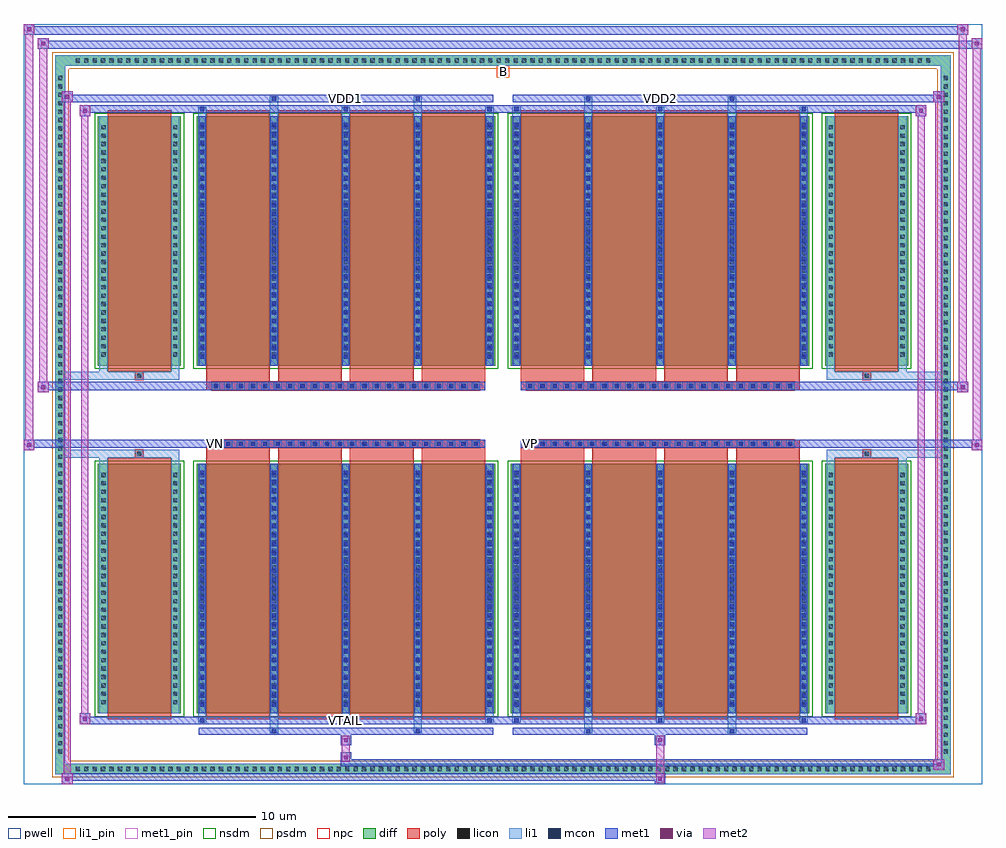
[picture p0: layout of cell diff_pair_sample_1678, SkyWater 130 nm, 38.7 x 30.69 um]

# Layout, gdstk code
import gdstk
lib = gdstk.Library(unit=1e-6, precision=5e-09)
def R(c, l, rs):  # rectangles x0, y0, x1, y1
    for r in rs: c.add(gdstk.rectangle(r[:2], r[2:], *l))
def A(c, l, x, y, w, h, nx, ny, dx, dy):  # array of equal rectangles
    R(c, l, [(x+i*dx, y+j*dy, x+i*dx+w, y+j*dy+h) for i in range(nx) for j in range(ny)])
def P(c, l, *ps):  # polygons
    for p in ps: c.add(gdstk.Polygon(p, *l))
pwell = (64, 44)
diff = (65, 20)
poly = (66, 20)
licon = (66, 44)
li1_pin = (67, 16)
li1 = (67, 20)
mcon = (67, 44)
met1_pin = (68, 16)
met1 = (68, 20)
via = (68, 44)
met2 = (69, 20)
nsdm = (93, 44)
psdm = (94, 20)
npc = (95, 20)

diff_pair_sample_1678 = lib.new_cell('diff_pair_sample_1678')
R(diff_pair_sample_1678, pwell, [(-19.35,-14.91,19.35,15.78), (-16.67,-13.1,-0.01,-0.8), (0.01,-13.1,16.67,-0.8), (-16.67,0.8,-0.01,13.1), (0.01,0.8,16.67,13.1)])
A(diff_pair_sample_1678, diff, -17.375, -14.51, 0.41, 0.41, 102, 2, 0.34, 28.61)
A(diff_pair_sample_1678, diff, -18.08, -13.805, 0.41, 0.41, 1, 81, 0, 0.34)
A(diff_pair_sample_1678, diff, 17.67, -13.805, 0.41, 0.41, 1, 81, 0, 0.34)
R(diff_pair_sample_1678, diff, [(-17.375,-14.51,17.375,-14.1), (-18.08,-13.805,-17.67,13.805), (17.67,-13.805,18.08,13.805), (-16.36,-12.055,-13.01,-1.985), (-12.37,-12.055,-0.32,-1.985), (0.32,-12.055,12.37,-1.985), (13.01,-12.055,16.36,-1.985), (-16.36,1.985,-13.01,12.055), (-12.37,1.985,-0.32,12.055), (0.32,1.985,12.37,12.055), (13.01,1.985,16.36,12.055), (-17.375,14.1,17.375,14.51)])
P(diff_pair_sample_1678, diff, [(18.08,14.51),(-18.08,14.51),(-18.08,-14.1),(-17.67,-14.1),(-17.67,14.1),(17.67,14.1),(17.67,-14.1),(-17.67,-14.1),(-18.08,-14.1),(-18.08,-14.51),(18.08,-14.51)])
A(diff_pair_sample_1678, poly, -11.98, -12.305, 2.57, 10.57, 4, 2, 2.9, 14.04)
A(diff_pair_sample_1678, poly, 0.71, -12.305, 2.57, 10.57, 4, 2, 2.9, 14.04)
A(diff_pair_sample_1678, poly, -11.98, -1.735, 2.57, 0.405, 4, 2, 2.9, 3.065)
A(diff_pair_sample_1678, poly, 0.71, -1.735, 2.57, 0.405, 4, 2, 2.9, 3.065)
A(diff_pair_sample_1678, poly, -11.76, -1.33, 0.33, 0.33, 22, 2, 0.5, 2.33)
A(diff_pair_sample_1678, poly, 0.93, -1.33, 0.33, 0.33, 22, 2, 0.5, 2.33)
R(diff_pair_sample_1678, poly, [(-15.97,-12.305,-13.4,-1.735), (13.4,-12.305,15.97,-1.735), (-14.85,-1.735,-14.52,-1.405), (-14.85,-1.735,-14.52,-1.405), (14.52,-1.735,14.85,-1.405), (14.52,-1.735,14.85,-1.405), (-11.98,-1.33,-0.71,-1), (0.71,-1.33,11.98,-1), (-11.98,1,-0.71,1.33), (0.71,1,11.98,1.33), (-14.85,1.405,-14.52,1.735), (-14.85,1.405,-14.52,1.735), (14.52,1.405,14.85,1.735), (14.52,1.405,14.85,1.735), (-15.97,1.735,-13.4,12.305), (13.4,1.735,15.97,12.305)])
A(diff_pair_sample_1678, licon, -17.255, -14.39, 0.17, 0.17, 102, 2, 0.34, 28.61)
A(diff_pair_sample_1678, licon, -17.96, -13.685, 0.17, 0.17, 1, 81, 0, 0.34)
A(diff_pair_sample_1678, licon, 17.79, -13.685, 0.17, 0.17, 1, 81, 0, 0.34)
A(diff_pair_sample_1678, licon, -16.22, -11.695, 0.17, 0.17, 1, 28, 0, 0.34)
A(diff_pair_sample_1678, licon, -13.32, -11.695, 0.17, 0.17, 1, 28, 0, 0.34)
A(diff_pair_sample_1678, licon, -12.23, -11.695, 0.17, 0.17, 5, 28, 2.9, 0.34)
A(diff_pair_sample_1678, licon, 0.46, -11.695, 0.17, 0.17, 5, 28, 2.9, 0.34)
A(diff_pair_sample_1678, licon, 13.15, -11.695, 0.17, 0.17, 1, 28, 0, 0.34)
A(diff_pair_sample_1678, licon, 16.05, -11.695, 0.17, 0.17, 1, 28, 0, 0.34)
A(diff_pair_sample_1678, licon, -11.68, -1.25, 0.17, 0.17, 22, 2, 0.5, 2.33)
A(diff_pair_sample_1678, licon, 1.01, -1.25, 0.17, 0.17, 22, 2, 0.5, 2.33)
A(diff_pair_sample_1678, licon, -16.22, 2.345, 0.17, 0.17, 1, 28, 0, 0.34)
A(diff_pair_sample_1678, licon, -13.32, 2.345, 0.17, 0.17, 1, 28, 0, 0.34)
A(diff_pair_sample_1678, licon, -12.23, 2.345, 0.17, 0.17, 5, 28, 2.9, 0.34)
A(diff_pair_sample_1678, licon, 0.46, 2.345, 0.17, 0.17, 5, 28, 2.9, 0.34)
A(diff_pair_sample_1678, licon, 13.15, 2.345, 0.17, 0.17, 1, 28, 0, 0.34)
A(diff_pair_sample_1678, licon, 16.05, 2.345, 0.17, 0.17, 1, 28, 0, 0.34)
R(diff_pair_sample_1678, licon, [(-14.77,-1.655,-14.6,-1.485), (14.6,-1.655,14.77,-1.485), (-14.77,1.485,-14.6,1.655), (14.6,1.485,14.77,1.655)])
R(diff_pair_sample_1678, li1_pin, [(-0.25,13.6,0.25,14.1)])
A(diff_pair_sample_1678, li1, -17.335, -14.47, 0.33, 0.33, 102, 2, 0.34, 28.61)
A(diff_pair_sample_1678, li1, -18.04, -13.765, 0.33, 0.33, 1, 81, 0, 0.34)
A(diff_pair_sample_1678, li1, 17.71, -13.765, 0.33, 0.33, 1, 81, 0, 0.34)
A(diff_pair_sample_1678, li1, -12.31, -12.43, 0.33, 0.375, 3, 2, 5.8, 24.485)
A(diff_pair_sample_1678, li1, -12.23, -12.43, 0.17, 0.17, 3, 2, 5.8, 24.69)
A(diff_pair_sample_1678, li1, 0.38, -12.43, 0.33, 0.375, 3, 2, 5.8, 24.485)
A(diff_pair_sample_1678, li1, 0.46, -12.43, 0.17, 0.17, 3, 2, 5.8, 24.69)
A(diff_pair_sample_1678, li1, -12.31, -12.055, 0.33, 10.07, 5, 2, 2.9, 14.04)
A(diff_pair_sample_1678, li1, 0.38, -12.055, 0.33, 10.07, 5, 2, 2.9, 14.04)
A(diff_pair_sample_1678, li1, -12.23, -11.785, 0.17, 0.17, 5, 27, 2.9, 0.36)
A(diff_pair_sample_1678, li1, -12.23, -11.785, 0.17, 9.53, 5, 2, 2.9, 14.04)
A(diff_pair_sample_1678, li1, 0.46, -11.785, 0.17, 0.17, 5, 27, 2.9, 0.36)
A(diff_pair_sample_1678, li1, 0.46, -11.785, 0.17, 9.53, 5, 2, 2.9, 14.04)
A(diff_pair_sample_1678, li1, -16.3, -11.775, 0.33, 0.33, 1, 28, 0, 0.34)
A(diff_pair_sample_1678, li1, -13.4, -11.775, 0.33, 0.33, 1, 28, 0, 0.34)
A(diff_pair_sample_1678, li1, -12.31, -11.775, 0.33, 0.33, 5, 28, 2.9, 0.34)
A(diff_pair_sample_1678, li1, 0.38, -11.775, 0.33, 0.33, 5, 28, 2.9, 0.34)
A(diff_pair_sample_1678, li1, 13.07, -11.775, 0.33, 0.33, 1, 28, 0, 0.34)
A(diff_pair_sample_1678, li1, 15.97, -11.775, 0.33, 0.33, 1, 28, 0, 0.34)
A(diff_pair_sample_1678, li1, -11.76, -1.33, 0.33, 0.33, 22, 2, 0.5, 2.33)
A(diff_pair_sample_1678, li1, 0.93, -1.33, 0.33, 0.33, 22, 2, 0.5, 2.33)
A(diff_pair_sample_1678, li1, -12.23, 2.255, 0.17, 0.17, 5, 27, 2.9, 0.36)
A(diff_pair_sample_1678, li1, 0.46, 2.255, 0.17, 0.17, 5, 27, 2.9, 0.36)
A(diff_pair_sample_1678, li1, -16.3, 2.265, 0.33, 0.33, 1, 28, 0, 0.34)
A(diff_pair_sample_1678, li1, -13.4, 2.265, 0.33, 0.33, 1, 28, 0, 0.34)
A(diff_pair_sample_1678, li1, -12.31, 2.265, 0.33, 0.33, 5, 28, 2.9, 0.34)
A(diff_pair_sample_1678, li1, 0.38, 2.265, 0.33, 0.33, 5, 28, 2.9, 0.34)
A(diff_pair_sample_1678, li1, 13.07, 2.265, 0.33, 0.33, 1, 28, 0, 0.34)
A(diff_pair_sample_1678, li1, 15.97, 2.265, 0.33, 0.33, 1, 28, 0, 0.34)
R(diff_pair_sample_1678, li1, [(-18.08,-14.51,-17.67,-14.1), (-18.08,-14.51,-17.67,-14.1), (-17.67,-14.51,17.67,-14.1), (17.67,-14.51,18.08,-14.1), (17.67,-14.51,18.08,-14.1), (-18.08,-14.1,-17.67,14.1), (17.67,-14.1,18.08,14.1), (-9.41,-12.86,-9.08,-12.055), (-9.33,-12.86,-9.16,-12.69), (-3.61,-12.86,-3.28,-12.055), (-3.53,-12.86,-3.36,-12.69), (3.28,-12.86,3.61,-12.055), (3.36,-12.86,3.53,-12.69), (9.08,-12.86,9.41,-12.055), (9.16,-12.86,9.33,-12.69), (-16.3,-12.055,-15.97,-1.985), (-13.4,-12.055,-13.07,-1.985), (13.07,-12.055,13.4,-1.985), (15.97,-12.055,16.3,-1.985), (-16.3,-1.985,-15.97,-1.405), (-13.4,-1.985,-13.07,-1.405), (13.07,-1.985,13.4,-1.405), (15.97,-1.985,16.3,-1.405), (-18.08,-1.735,-14.85,-1.405), (-16.3,-1.735,-14.85,-1.405), (-14.85,-1.735,-14.52,-1.405), (-14.52,-1.735,-13.07,-1.405), (13.07,-1.735,14.52,-1.405), (14.52,-1.735,14.85,-1.405), (14.52,-1.735,18.08,-1.405), (14.85,-1.735,16.3,-1.405), (-18.08,1.405,-14.85,1.735), (-16.3,1.405,-14.85,1.735), (-16.3,1.405,-15.97,1.985), (-14.85,1.405,-14.52,1.735), (-14.52,1.405,-13.07,1.735), (-13.4,1.405,-13.07,1.985), (13.07,1.405,14.52,1.735), (13.07,1.405,13.4,1.985), (14.52,1.405,14.85,1.735), (14.52,1.405,18.08,1.735), (14.85,1.405,16.3,1.735), (15.97,1.405,16.3,1.985), (-16.3,1.985,-15.97,12.055), (-13.4,1.985,-13.07,12.055), (13.07,1.985,13.4,12.055), (15.97,1.985,16.3,12.055), (-9.41,12.055,-9.08,12.86), (-3.61,12.055,-3.28,12.86), (3.28,12.055,3.61,12.86), (9.08,12.055,9.41,12.86), (-9.33,12.69,-9.16,12.86), (-3.53,12.69,-3.36,12.86), (3.36,12.69,3.53,12.86), (9.16,12.69,9.33,12.86), (-18.08,14.1,-17.67,14.51), (-18.08,14.1,-17.67,14.51), (-17.67,14.1,17.67,14.51), (17.67,14.1,18.08,14.51), (17.67,14.1,18.08,14.51)])
A(diff_pair_sample_1678, mcon, -12.23, -12.43, 0.17, 0.17, 3, 2, 5.8, 24.69)
A(diff_pair_sample_1678, mcon, 0.46, -12.43, 0.17, 0.17, 3, 2, 5.8, 24.69)
A(diff_pair_sample_1678, mcon, -12.23, -11.785, 0.17, 0.17, 5, 27, 2.9, 0.36)
A(diff_pair_sample_1678, mcon, 0.46, -11.785, 0.17, 0.17, 5, 27, 2.9, 0.36)
A(diff_pair_sample_1678, mcon, -11.68, -1.25, 0.17, 0.17, 22, 2, 0.5, 2.33)
A(diff_pair_sample_1678, mcon, 1.01, -1.25, 0.17, 0.17, 22, 2, 0.5, 2.33)
A(diff_pair_sample_1678, mcon, -12.23, 2.255, 0.17, 0.17, 5, 27, 2.9, 0.36)
A(diff_pair_sample_1678, mcon, 0.46, 2.255, 0.17, 0.17, 5, 27, 2.9, 0.36)
R(diff_pair_sample_1678, mcon, [(-9.33,-12.86,-9.16,-12.69), (-3.53,-12.86,-3.36,-12.69), (3.36,-12.86,3.53,-12.69), (9.16,-12.86,9.33,-12.69), (-9.33,12.69,-9.16,12.86), (-3.53,12.69,-3.36,12.86), (3.36,12.69,3.53,12.86), (9.16,12.69,9.33,12.86)])
R(diff_pair_sample_1678, met1_pin, [(-6.48,-12.47,-6.21,-12.2), (-11.73,-1.29,-11.46,-1.02), (0.96,-1.29,1.23,-1.02), (-6.48,12.65,-6.21,12.92), (6.21,12.65,6.48,12.92)])
A(diff_pair_sample_1678, met1, -12.29, -12.49, 0.29, 0.29, 3, 2, 5.8, 24.69)
A(diff_pair_sample_1678, met1, 0.4, -12.49, 0.29, 0.29, 3, 2, 5.8, 24.69)
A(diff_pair_sample_1678, met1, -12.29, -12.055, 0.29, 10.07, 5, 2, 2.9, 14.04)
A(diff_pair_sample_1678, met1, 0.4, -12.055, 0.29, 10.07, 5, 2, 2.9, 14.04)
A(diff_pair_sample_1678, met1, -12.29, -11.845, 0.29, 0.29, 5, 27, 2.9, 0.36)
A(diff_pair_sample_1678, met1, 0.4, -11.845, 0.29, 0.29, 5, 27, 2.9, 0.36)
A(diff_pair_sample_1678, met1, -11.74, -1.31, 0.29, 0.29, 22, 2, 0.5, 2.33)
A(diff_pair_sample_1678, met1, 0.95, -1.31, 0.29, 0.29, 22, 2, 0.5, 2.33)
A(diff_pair_sample_1678, met1, -12.29, 2.195, 0.29, 0.29, 5, 27, 2.9, 0.36)
A(diff_pair_sample_1678, met1, 0.4, 2.195, 0.29, 0.29, 5, 27, 2.9, 0.36)
R(diff_pair_sample_1678, met1, [(-17.81,-14.91,-17.38,-14.48), (6.13,-14.91,6.56,-14.48), (-17.81,-14.77,6.56,-14.48), (17.38,-14.34,17.81,-13.91), (-6.56,-14.2,17.81,-13.91), (-6.56,-14.06,-6.13,-13.63), (-6.56,-13.35,-6.13,-12.92), (6.13,-13.35,6.56,-12.92), (-12.29,-12.92,-0.4,-12.63), (-9.39,-12.92,-9.1,-12.63), (-3.59,-12.92,-3.3,-12.63), (0.4,-12.92,12.29,-12.63), (3.3,-12.92,3.59,-12.63), (9.1,-12.92,9.39,-12.63), (-17.1,-12.49,-16.67,-12.06), (-17.1,-12.49,-12.29,-12.2), (-12.29,-12.49,-0.4,-12.2), (-0.4,-12.49,0.4,-12.2), (0.4,-12.49,12.29,-12.2), (12.29,-12.49,17.1,-12.2), (16.67,-12.49,17.1,-12.06), (-19.35,-1.43,-18.92,-1), (18.92,-1.43,19.35,-1), (-19.35,-1.33,-0.71,-1), (-11.98,-1.33,-0.71,-1), (0.71,-1.33,11.98,-1), (0.71,-1.33,19.35,-1), (-18.78,0.9,-18.35,1.33), (18.35,0.9,18.78,1.33), (-18.78,1,-11.98,1.33), (-11.98,1,-0.71,1.33), (0.71,1,11.98,1.33), (11.98,1,18.78,1.33), (-17.1,12.06,-16.67,12.49), (16.67,12.06,17.1,12.49), (-17.1,12.2,-12.29,12.49), (-12.29,12.2,-0.4,12.49), (-0.4,12.2,0.4,12.49), (0.4,12.2,12.29,12.49), (12.29,12.2,17.1,12.49), (-17.81,12.63,-17.38,13.06), (-17.81,12.63,-12.29,12.92), (-12.29,12.63,-0.4,12.92), (-9.39,12.63,-9.1,12.92), (-3.59,12.63,-3.3,12.92), (0.4,12.63,12.29,12.92), (3.3,12.63,3.59,12.92), (9.1,12.63,9.39,12.92), (12.29,12.63,17.81,12.92), (17.38,12.63,17.81,13.06), (-18.78,14.78,-18.35,15.21), (-18.78,14.78,-16.67,15.11), (-16.67,14.78,16.67,15.11), (16.67,14.78,19.35,15.11), (18.92,14.78,19.35,15.21), (-19.35,15.35,-18.92,15.78), (-19.35,15.35,-16.67,15.68), (-16.67,15.35,16.67,15.68), (16.67,15.35,18.78,15.68), (18.35,15.35,18.78,15.78)])
R(diff_pair_sample_1678, via, [(-17.67,-14.77,-17.52,-14.62), (6.27,-14.77,6.42,-14.62), (17.52,-14.2,17.67,-14.05), (-6.42,-13.92,-6.27,-13.77), (-6.42,-13.21,-6.27,-13.06), (6.27,-13.21,6.42,-13.06), (-16.96,-12.35,-16.81,-12.2), (16.81,-12.35,16.96,-12.2), (-19.21,-1.29,-19.06,-1.14), (19.06,-1.29,19.21,-1.14), (-18.64,1.04,-18.49,1.19), (18.49,1.04,18.64,1.19), (-16.96,12.2,-16.81,12.35), (16.81,12.2,16.96,12.35), (-17.67,12.77,-17.52,12.92), (17.52,12.77,17.67,12.92), (-18.64,14.92,-18.49,15.07), (19.06,14.92,19.21,15.07), (-19.21,15.49,-19.06,15.64), (18.49,15.49,18.64,15.64)])
R(diff_pair_sample_1678, met2, [(-17.81,-14.91,-17.38,-14.48), (-17.74,-14.91,-17.45,13.06), (-17.45,-14.91,-17.38,-14.48), (-17.76,-14.86,-17.43,-14.53), (6.18,-14.86,6.51,-14.53), (6.18,-14.53,6.51,-13.3), (17.38,-14.34,17.81,-13.91), (17.45,-14.34,17.74,13.06), (17.74,-14.34,17.81,-13.91), (17.43,-14.29,17.76,-13.96), (-6.51,-14.01,-6.18,-13.68), (-6.51,-13.68,-6.18,-13.3), (-6.51,-13.3,-6.18,-12.97), (6.18,-13.3,6.51,-12.97), (-17.1,-12.49,-16.67,-12.06), (-17.03,-12.49,-16.74,12.49), (-16.74,-12.49,-16.67,-12.06), (16.67,-12.49,17.1,-12.06), (16.74,-12.49,17.03,12.49), (17.03,-12.49,17.1,-12.06), (-17.05,-12.44,-16.72,-12.11), (16.72,-12.44,17.05,-12.11), (-19.35,-1.43,-18.92,-1), (-19.3,-1.43,-18.97,15.78), (-18.97,-1.43,-18.92,-1), (18.92,-1.43,19.35,-1), (18.97,-1.43,19.3,15.21), (19.3,-1.43,19.35,-1), (-19.3,-1.38,-18.97,-1.05), (18.97,-1.38,19.3,-1.05), (-18.78,0.9,-18.35,1.33), (-18.73,0.9,-18.4,15.21), (-18.4,0.9,-18.35,1.33), (18.35,0.9,18.78,1.33), (18.4,0.9,18.73,15.78), (18.73,0.9,18.78,1.33), (-18.73,0.95,-18.4,1.28), (18.4,0.95,18.73,1.28), (-17.1,12.06,-16.67,12.49), (-16.74,12.06,-16.67,12.49), (16.67,12.06,17.1,12.49), (17.03,12.06,17.1,12.49), (-17.05,12.11,-16.72,12.44), (16.72,12.11,17.05,12.44), (-17.81,12.63,-17.38,13.06), (-17.45,12.63,-17.38,13.06), (17.38,12.63,17.81,13.06), (17.74,12.63,17.81,13.06), (-17.76,12.68,-17.43,13.01), (17.43,12.68,17.76,13.01), (-18.78,14.78,-18.35,15.21), (-18.4,14.78,-18.35,15.21), (18.92,14.78,19.35,15.21), (19.3,14.78,19.35,15.21), (-18.73,14.83,-18.4,15.16), (18.97,14.83,19.3,15.16), (-19.35,15.35,-18.92,15.78), (-18.97,15.35,-18.92,15.78), (18.35,15.35,18.78,15.78), (18.73,15.35,18.78,15.78), (-19.3,15.4,-18.97,15.73), (18.4,15.4,18.73,15.73)])
R(diff_pair_sample_1678, nsdm, [(-16.49,-12.185,-12.88,-1.855), (-12.5,-12.185,-0.19,-1.855), (0.19,-12.185,12.5,-1.855), (12.88,-12.185,16.49,-1.855), (-16.49,1.855,-12.88,12.185), (-12.5,1.855,-0.19,12.185), (0.19,1.855,12.5,12.185), (12.88,1.855,16.49,12.185)])
P(diff_pair_sample_1678, psdm, [(18.21,14.64),(-18.21,14.64),(-18.21,-13.97),(-17.54,-13.97),(-17.54,13.97),(17.54,13.97),(17.54,-13.97),(-17.54,-13.97),(-18.21,-13.97),(-18.21,-14.64),(18.21,-14.64)])
A(diff_pair_sample_1678, npc, -11.78, -1.35, 0.37, 0.37, 22, 2, 0.5, 2.33)
A(diff_pair_sample_1678, npc, 0.91, -1.35, 0.37, 0.37, 22, 2, 0.5, 2.33)
R(diff_pair_sample_1678, npc, [(-14.87,-1.755,-14.5,-1.385), (14.5,-1.755,14.87,-1.385), (-11.78,-1.35,-10.91,-0.98), (-11.78,-1.35,-10.91,-0.98), (-11.28,-1.35,-10.41,-0.98), (-11.28,-1.35,-10.41,-0.98), (-10.78,-1.35,-9.91,-0.98), (-10.78,-1.35,-9.91,-0.98), (-10.28,-1.35,-9.41,-0.98), (-10.28,-1.35,-9.41,-0.98), (-9.78,-1.35,-8.91,-0.98), (-9.78,-1.35,-8.91,-0.98), (-9.28,-1.35,-8.41,-0.98), (-9.28,-1.35,-8.41,-0.98), (-8.78,-1.35,-7.91,-0.98), (-8.78,-1.35,-7.91,-0.98), (-8.28,-1.35,-7.41,-0.98), (-8.28,-1.35,-7.41,-0.98), (-7.78,-1.35,-6.91,-0.98), (-7.78,-1.35,-6.91,-0.98), (-7.28,-1.35,-6.41,-0.98), (-7.28,-1.35,-6.41,-0.98), (-6.78,-1.35,-5.91,-0.98), (-6.78,-1.35,-5.91,-0.98), (-6.28,-1.35,-5.41,-0.98), (-6.28,-1.35,-5.41,-0.98), (-5.78,-1.35,-4.91,-0.98), (-5.78,-1.35,-4.91,-0.98), (-5.28,-1.35,-4.41,-0.98), (-5.28,-1.35,-4.41,-0.98), (-4.78,-1.35,-3.91,-0.98), (-4.78,-1.35,-3.91,-0.98), (-4.28,-1.35,-3.41,-0.98), (-4.28,-1.35,-3.41,-0.98), (-3.78,-1.35,-2.91,-0.98), (-3.78,-1.35,-2.91,-0.98), (-3.28,-1.35,-2.41,-0.98), (-3.28,-1.35,-2.41,-0.98), (-2.78,-1.35,-1.91,-0.98), (-2.78,-1.35,-1.91,-0.98), (-2.28,-1.35,-1.41,-0.98), (-2.28,-1.35,-1.41,-0.98), (-1.78,-1.35,-0.91,-0.98), (-1.78,-1.35,-0.91,-0.98), (0.91,-1.35,1.78,-0.98), (0.91,-1.35,1.78,-0.98), (1.41,-1.35,2.28,-0.98), (1.41,-1.35,2.28,-0.98), (1.91,-1.35,2.78,-0.98), (1.91,-1.35,2.78,-0.98), (2.41,-1.35,3.28,-0.98), (2.41,-1.35,3.28,-0.98), (2.91,-1.35,3.78,-0.98), (2.91,-1.35,3.78,-0.98), (3.41,-1.35,4.28,-0.98), (3.41,-1.35,4.28,-0.98), (3.91,-1.35,4.78,-0.98), (3.91,-1.35,4.78,-0.98), (4.41,-1.35,5.28,-0.98), (4.41,-1.35,5.28,-0.98), (4.91,-1.35,5.78,-0.98), (4.91,-1.35,5.78,-0.98), (5.41,-1.35,6.28,-0.98), (5.41,-1.35,6.28,-0.98), (5.91,-1.35,6.78,-0.98), (5.91,-1.35,6.78,-0.98), (6.41,-1.35,7.28,-0.98), (6.41,-1.35,7.28,-0.98), (6.91,-1.35,7.78,-0.98), (6.91,-1.35,7.78,-0.98), (7.41,-1.35,8.28,-0.98), (7.41,-1.35,8.28,-0.98), (7.91,-1.35,8.78,-0.98), (7.91,-1.35,8.78,-0.98), (8.41,-1.35,9.28,-0.98), (8.41,-1.35,9.28,-0.98), (8.91,-1.35,9.78,-0.98), (8.91,-1.35,9.78,-0.98), (9.41,-1.35,10.28,-0.98), (9.41,-1.35,10.28,-0.98), (9.91,-1.35,10.78,-0.98), (9.91,-1.35,10.78,-0.98), (10.41,-1.35,11.28,-0.98), (10.41,-1.35,11.28,-0.98), (10.91,-1.35,11.78,-0.98), (10.91,-1.35,11.78,-0.98), (-11.78,0.98,-10.91,1.35), (-11.78,0.98,-10.91,1.35), (-11.28,0.98,-10.41,1.35), (-11.28,0.98,-10.41,1.35), (-10.78,0.98,-9.91,1.35), (-10.78,0.98,-9.91,1.35), (-10.28,0.98,-9.41,1.35), (-10.28,0.98,-9.41,1.35), (-9.78,0.98,-8.91,1.35), (-9.78,0.98,-8.91,1.35), (-9.28,0.98,-8.41,1.35), (-9.28,0.98,-8.41,1.35), (-8.78,0.98,-7.91,1.35), (-8.78,0.98,-7.91,1.35), (-8.28,0.98,-7.41,1.35), (-8.28,0.98,-7.41,1.35), (-7.78,0.98,-6.91,1.35), (-7.78,0.98,-6.91,1.35), (-7.28,0.98,-6.41,1.35), (-7.28,0.98,-6.41,1.35), (-6.78,0.98,-5.91,1.35), (-6.78,0.98,-5.91,1.35), (-6.28,0.98,-5.41,1.35), (-6.28,0.98,-5.41,1.35), (-5.78,0.98,-4.91,1.35), (-5.78,0.98,-4.91,1.35), (-5.28,0.98,-4.41,1.35), (-5.28,0.98,-4.41,1.35), (-4.78,0.98,-3.91,1.35), (-4.78,0.98,-3.91,1.35), (-4.28,0.98,-3.41,1.35), (-4.28,0.98,-3.41,1.35), (-3.78,0.98,-2.91,1.35), (-3.78,0.98,-2.91,1.35), (-3.28,0.98,-2.41,1.35), (-3.28,0.98,-2.41,1.35), (-2.78,0.98,-1.91,1.35), (-2.78,0.98,-1.91,1.35), (-2.28,0.98,-1.41,1.35), (-2.28,0.98,-1.41,1.35), (-1.78,0.98,-0.91,1.35), (-1.78,0.98,-0.91,1.35), (0.91,0.98,1.78,1.35), (0.91,0.98,1.78,1.35), (1.41,0.98,2.28,1.35), (1.41,0.98,2.28,1.35), (1.91,0.98,2.78,1.35), (1.91,0.98,2.78,1.35), (2.41,0.98,3.28,1.35), (2.41,0.98,3.28,1.35), (2.91,0.98,3.78,1.35), (2.91,0.98,3.78,1.35), (3.41,0.98,4.28,1.35), (3.41,0.98,4.28,1.35), (3.91,0.98,4.78,1.35), (3.91,0.98,4.78,1.35), (4.41,0.98,5.28,1.35), (4.41,0.98,5.28,1.35), (4.91,0.98,5.78,1.35), (4.91,0.98,5.78,1.35), (5.41,0.98,6.28,1.35), (5.41,0.98,6.28,1.35), (5.91,0.98,6.78,1.35), (5.91,0.98,6.78,1.35), (6.41,0.98,7.28,1.35), (6.41,0.98,7.28,1.35), (6.91,0.98,7.78,1.35), (6.91,0.98,7.78,1.35), (7.41,0.98,8.28,1.35), (7.41,0.98,8.28,1.35), (7.91,0.98,8.78,1.35), (7.91,0.98,8.78,1.35), (8.41,0.98,9.28,1.35), (8.41,0.98,9.28,1.35), (8.91,0.98,9.78,1.35), (8.91,0.98,9.78,1.35), (9.41,0.98,10.28,1.35), (9.41,0.98,10.28,1.35), (9.91,0.98,10.78,1.35), (9.91,0.98,10.78,1.35), (10.41,0.98,11.28,1.35), (10.41,0.98,11.28,1.35), (10.91,0.98,11.78,1.35), (10.91,0.98,11.78,1.35), (-14.87,1.385,-14.5,1.755), (14.5,1.385,14.87,1.755)])
diff_pair_sample_1678.add(gdstk.Label('VTAIL', (-6.345,-12.335), layer=68, texttype=5))
diff_pair_sample_1678.add(gdstk.Label('VN', (-11.595,-1.155), layer=68, texttype=5))
diff_pair_sample_1678.add(gdstk.Label('VP', (1.095,-1.155), layer=68, texttype=5))
diff_pair_sample_1678.add(gdstk.Label('B', (0,13.85), layer=67, texttype=5))
diff_pair_sample_1678.add(gdstk.Label('VDD2', (6.345,12.785), layer=68, texttype=5))
diff_pair_sample_1678.add(gdstk.Label('VDD1', (-6.345,12.785), layer=68, texttype=5))

lib.write_gds('diff_pair_sample_1678.gds')
